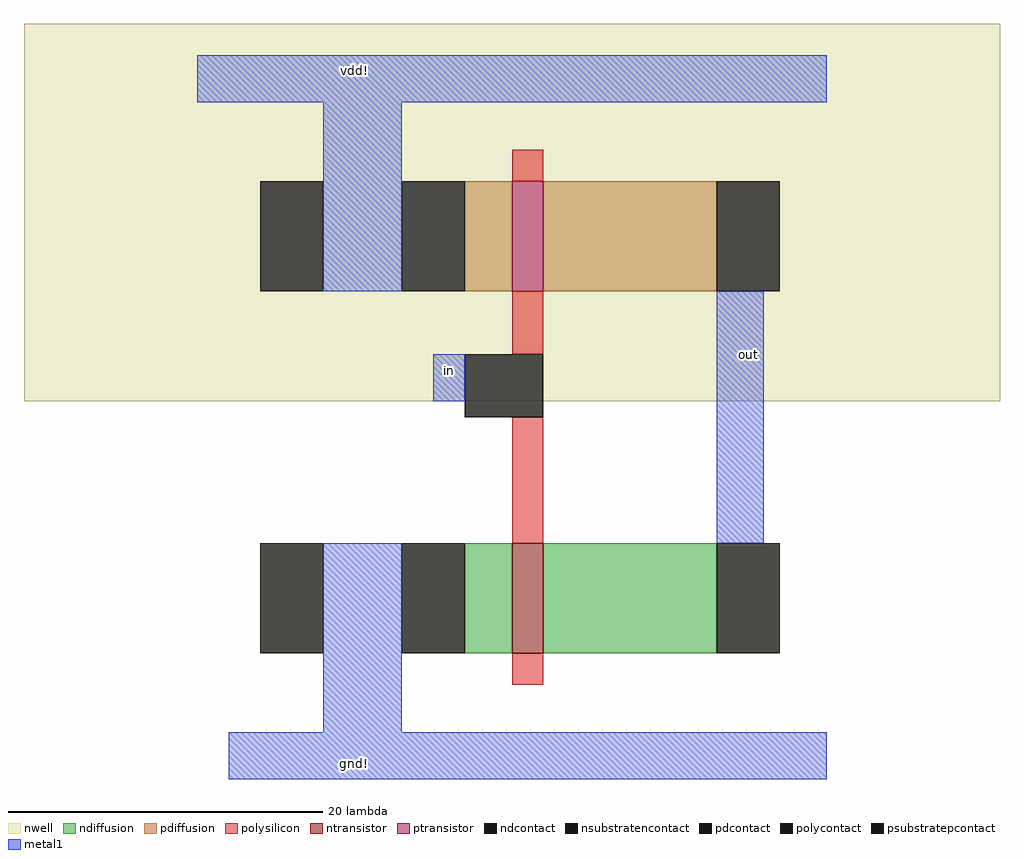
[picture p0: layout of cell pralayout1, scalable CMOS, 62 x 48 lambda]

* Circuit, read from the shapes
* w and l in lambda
.subckt pralayout1 gnd! in out vdd!
M1 out in gnd! gnd! nfet w=7 l=2
M2 out in vdd! vdd! pfet w=7 l=2
.ends

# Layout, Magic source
magic
tech scmos
<< nwell >>
rect -36 3 26 27
<< ntransistor >>
rect -5 -13 -3 -6
<< ptransistor >>
rect -5 10 -3 17
<< ndiffusion >>
rect -8 -13 -5 -6
rect -3 -13 8 -6
<< pdiffusion >>
rect -8 10 -5 17
rect -3 10 8 17
<< ndcontact >>
rect -12 -13 -8 -6
rect 8 -13 12 -6
<< pdcontact >>
rect -12 10 -8 17
rect 8 10 12 17
<< psubstratepcontact >>
rect -21 -13 -17 -6
<< nsubstratencontact >>
rect -21 10 -17 17
<< polysilicon >>
rect -5 17 -3 19
rect -5 6 -3 10
rect -5 -6 -3 2
rect -5 -15 -3 -13
<< polycontact >>
rect -8 2 -3 6
<< metal1 >>
rect -25 22 15 25
rect -17 10 -12 22
rect -10 3 -8 6
rect 8 -6 11 10
rect -17 -18 -12 -6
rect -23 -21 15 -18
<< labels >>
rlabel metal1 -15 24 -15 24 5 vdd!
rlabel metal1 -15 -20 -15 -20 1 gnd!
rlabel metal1 -9 5 -9 5 1 in
rlabel metal1 10 6 10 6 1 out
<< end >>
